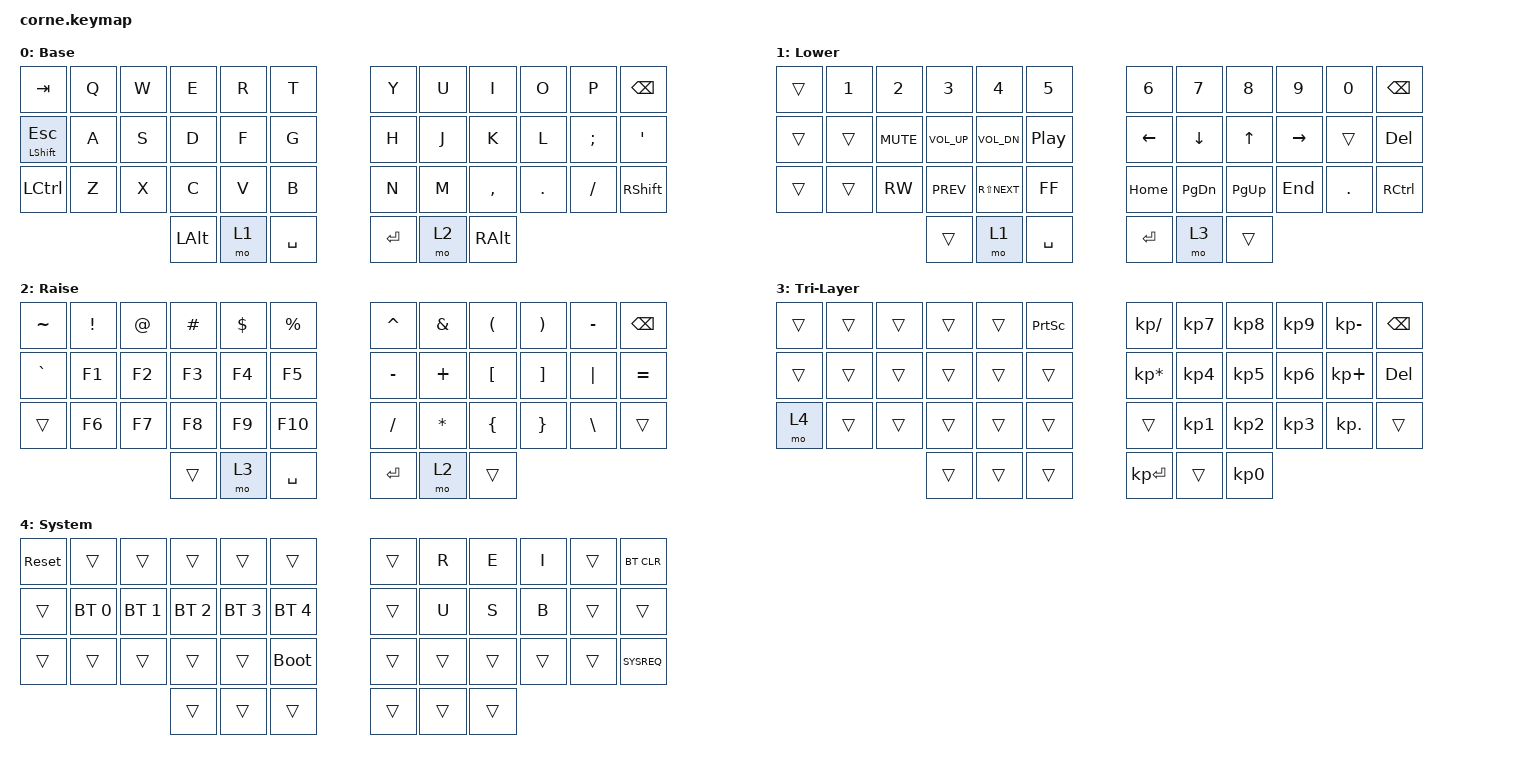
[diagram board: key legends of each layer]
/*
 * Copyright (c) 2020 The ZMK Contributors
 *
 * SPDX-License-Identifier: MIT
 */

#include <behaviors.dtsi>
#include <dt-bindings/zmk/bt.h>
#include <dt-bindings/zmk/keys.h>

/ {
    combos {
        compatible = "zmk,combos";

        meta-combo {
            bindings = <&kp LEFT_META>;
            key-positions = <24 37>;
            timeout-ms = <9999>;
        };

        scroll-lock {
            bindings = <&kp SCROLLLOCK>;
            key-positions = <37 0>;
        };
    };

    behaviors {
        dscw: double_shift_capsword {
            compatible = "zmk,behavior-tap-dance";
            label = "Double shift capsword";
            #binding-cells = <0>;
            bindings = <&kp LEFT_SHIFT>, <&caps_word>;
        };
    };

    keymap {
        compatible = "zmk,keymap";

        default_layer {
            label = "Base";
            bindings = <
&kp TAB                &kp Q  &kp W  &kp E         &kp R  &kp T        &kp Y    &kp U  &kp I          &kp O    &kp P     &kp BSPC
&mt LEFT_SHIFT ESCAPE  &kp A  &kp S  &kp D         &kp F  &kp G        &kp H    &kp J  &kp K          &kp L    &kp SEMI  &kp SQT
&kp LCTRL              &kp Z  &kp X  &kp C         &kp V  &kp B        &kp N    &kp M  &kp COMMA      &kp DOT  &kp FSLH  &kp RIGHT_SHIFT
                                     &kp LEFT_ALT  &mo 1  &kp SPACE    &kp RET  &mo 2  &kp RIGHT_ALT
            >;
        };

        lower_layer {
            label = "Lower";
            bindings = <
&trans  &kp N1  &kp N2      &kp N3        &kp N4          &kp N5       &kp N6    &kp N7         &kp N8     &kp N9     &kp N0   &kp BSPC
&trans  &trans  &kp C_MUTE  &kp C_VOL_UP  &kp C_VOL_DN    &kp C_PP     &kp LEFT  &kp DOWN       &kp UP     &kp RIGHT  &trans   &kp DEL
&trans  &trans  &kp C_RW    &kp C_PREV    &kp RS(C_NEXT)  &kp C_FF     &kp HOME  &kp PAGE_DOWN  &kp PG_UP  &kp END    &kp DOT  &kp RCTRL
                            &trans        &mo 1           &kp SPACE    &kp RET   &mo 3          &trans
            >;
        };

        raise_layer {
            label = "Raise";
            bindings = <
&kp TILDE  &kp EXCL  &kp AT  &kp HASH  &kp DLLR  &kp PRCNT    &kp CARET  &kp AMPS   &kp LEFT_PARENTHESIS  &kp RIGHT_PARENTHESIS  &kp MINUS  &kp BSPC
&kp GRAVE  &kp F1    &kp F2  &kp F3    &kp F4    &kp F5       &kp MINUS  &kp PLUS   &kp LBKT              &kp RBKT               &kp PIPE   &kp EQUAL
&trans     &kp F6    &kp F7  &kp F8    &kp F9    &kp F10      &kp FSLH   &kp ASTRK  &kp LBRC              &kp RBRC               &kp BSLH   &trans
                             &trans    &mo 3     &kp SPACE    &kp ENTER  &mo 2      &trans
            >;
        };

        TRI {
            bindings = <
&trans  &trans  &trans  &trans  &trans  &kp PRINTSCREEN    &kp KP_DIVIDE    &kp KP_NUMBER_7  &kp KP_NUMBER_8  &kp KP_N9        &kp KP_SUBTRACT  &kp BACKSPACE
&trans  &trans  &trans  &trans  &trans  &trans             &kp KP_MULTIPLY  &kp KP_NUMBER_4  &kp KP_N5        &kp KP_NUMBER_6  &kp KP_PLUS      &kp DEL
&mo 4   &trans  &trans  &trans  &trans  &trans             &trans           &kp KP_NUMBER_1  &kp KP_NUMBER_2  &kp KP_N3        &kp KP_DOT       &trans
                        &trans  &trans  &trans             &kp KP_ENTER     &trans           &kp KP_N0
            >;

            label = "Tri-Layer";
        };

        SYS {
            bindings = <
&sys_reset  &trans        &trans        &trans        &trans        &trans          &trans  &kp R   &kp E   &kp I   &trans  &bt BT_CLR
&trans      &bt BT_SEL 0  &bt BT_SEL 1  &bt BT_SEL 2  &bt BT_SEL 3  &bt BT_SEL 4    &trans  &kp U   &kp S   &kp B   &trans  &trans
&trans      &trans        &trans        &trans        &trans        &bootloader     &trans  &trans  &trans  &trans  &trans  &kp SYSREQ
                                        &trans        &trans        &trans          &trans  &trans  &trans
            >;

            label = "System";
        };
    };

    conditional_layers { compatible = "zmk,conditional-layers"; };
};
